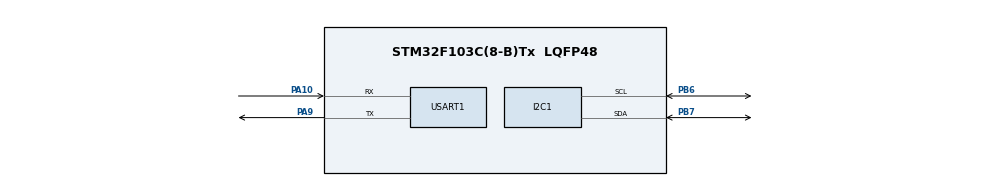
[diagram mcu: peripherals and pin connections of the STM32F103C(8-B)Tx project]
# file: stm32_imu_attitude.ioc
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Mcu.Family=STM32F1
Mcu.Name=STM32F103C(8-B)Tx
Mcu.Package=LQFP48
NVIC.PriorityGroup=NVIC_PRIORITYGROUP_4
PA10.Mode=Asynchronous
PA10.Signal=USART1_RX
PA13.Mode=Serial_Wire
PA13.Signal=SYS_JTMS-SWDIO
PA14.Mode=Serial_Wire
PA14.Signal=SYS_JTCK-SWCLK
PA9.Mode=Asynchronous
PA9.Signal=USART1_TX
PB6.Mode=I2C
PB6.Signal=I2C1_SCL
PB7.Mode=I2C
PB7.Signal=I2C1_SDA
PD0-OSC_IN.Mode=HSE-External-Oscillator
PD0-OSC_IN.Signal=RCC_OSC_IN
PD1-OSC_OUT.Mode=HSE-External-Oscillator
PD1-OSC_OUT.Signal=RCC_OSC_OUT
ProjectManager.HeapSize=0x200
ProjectManager.StackSize=0x400
ProjectManager.TargetToolchain=STM32CubeIDE
RCC.APB1Freq_Value=8000000
RCC.APB2Freq_Value=8000000
USART1.VirtualMode=VM_ASYNC
board=custom

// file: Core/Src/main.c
/* USER CODE BEGIN Header */
/**
  ******************************************************************************
  * @file           : main.c
  * @brief          : Main program body
  ******************************************************************************
  * @attention
  *
  * Copyright (c) 2026 STMicroelectronics.
  * All rights reserved.
  *
  * This software is licensed under terms that can be found in the LICENSE file
  * in the root directory of this software component.
  * If no LICENSE file comes with this software, it is provided AS-IS.
  *
  ******************************************************************************
  */
/* USER CODE END Header */
#include "main.h"

/* USER CODE BEGIN Includes */
#include <stdio.h>
#include "can_node.h"
#include "mpu6050.h"
#include "telemetry.h"
#include "uart_console.h"
/* USER CODE END Includes */

I2C_HandleTypeDef hi2c1;

UART_HandleTypeDef huart1;

/* USER CODE BEGIN PV */
MPU6050_t my_mpu;

Node_Status_t g_sensor_status = NODE_OK;
uint32_t last_sensor_tick = 0;
uint32_t last_telemetry_tick = 0;
uint32_t last_probe_tick = 0;
/* USER CODE END PV */

void SystemClock_Config(void);
static void MX_GPIO_Init(void);
static void MX_USART1_UART_Init(void);
static void MX_I2C1_Init(void);

/* USER CODE BEGIN 0 */
static HAL_StatusTypeDef I2C1_RecoverPeripheral(void)
{
  /*
   * A cable disconnect can leave the STM32F1 I2C peripheral with BUSY/START
   * state latched even after the signal is restored. DeInit/Init applies the
   * peripheral software reset and restores PB6/PB7 before probing WHO_AM_I.
   */
  if (HAL_I2C_DeInit(&hi2c1) != HAL_OK)
  {
    return HAL_ERROR;
  }

  MX_I2C1_Init();
  return HAL_OK;
}

/*
 * [공부 포인트 - printf 리다이렉션 (Redirection)]
 * C언어의 표준 출력 함수인 printf()는 원래 PC의 모니터(콘솔)로 문자를 보냅니다.
 * 임베디드 보드에는 모니터가 없으므로, 이 마법의 함수(__io_putchar)를 오버라이딩하여
 * printf()가 호출될 때마다 그 글자(ch)들을 UART1 통신선(Tx)을 통해 PC로 전송하도록 방향을 틀어줍니다.
 */
int __io_putchar(int ch)
{
  HAL_UART_Transmit(&huart1, (uint8_t *)&ch, 1, 0xFFFF);
  return ch;
}
/* USER CODE END 0 */

int main(void)
{

  /* MCU Configuration--------------------------------------------------------*/

  /* Reset of all peripherals, Initializes the Flash interface and the Systick. */
  HAL_Init();

  /* Configure the system clock */
  SystemClock_Config();

  /* Initialize all configured peripherals */
  MX_GPIO_Init();
  MX_USART1_UART_Init();
  MX_I2C1_Init();
  /* USER CODE BEGIN 2 */
  UART_Console_Init(&huart1);
  Telemetry_Init();

  if (CAN_Node_Init(&huart1)) {
      Telemetry_Publish_String(&huart1, "BOOT,OK,CAN_500K_READY\r\n");
  } else {
      Telemetry_Publish_String(&huart1, "BOOT,ERR,CAN_INIT_FAILED\r\n");
  }

  // --- [DIAGNOSTIC] I2C Scanner ---
  char scan_buf[64];
  uint8_t found_count = 0;
  Telemetry_Publish_String(&huart1, "BOOT,INFO,SCANNING_I2C_BUS...\r\n");
  for(uint16_t i=1; i<128; i++) {
      if(HAL_I2C_IsDeviceReady(&hi2c1, (i<<1), 3, 100) == HAL_OK) {
          uint8_t whoami = 0;
          HAL_I2C_Mem_Read(&hi2c1, (i<<1), 0x75, 1, &whoami, 1, 100);
          snprintf(scan_buf, sizeof(scan_buf), "BOOT,INFO,FOUND_I2C_AT_0x%02X_WHOAMI_0x%02X\r\n", i, whoami);
          Telemetry_Publish_String(&huart1, scan_buf);
          found_count++;
      }
  }
  if(found_count == 0) {
      Telemetry_Publish_String(&huart1, "BOOT,ERR,NO_I2C_DEVICES_FOUND\r\n");
  }
  // --------------------------------

  if (MPU6050_Init(&hi2c1, &my_mpu) != MPU6050_OK) {
      g_sensor_status = NODE_SENSOR_OFFLINE;
      Telemetry_Publish_String(&huart1, "BOOT,ERR,DEVICE_NOT_FOUND\r\n");
  } else {
      g_sensor_status = NODE_OK;
      Telemetry_Publish_String(&huart1, "BOOT,OK,MPU6050_FOUND\r\n");
  }

  last_sensor_tick = HAL_GetTick();
  last_telemetry_tick = HAL_GetTick();
  last_probe_tick = HAL_GetTick();
  /* USER CODE END 2 */

  /* Infinite loop */
  /* USER CODE BEGIN WHILE */
  while (1)
  {
      uint32_t current_tick = HAL_GetTick();

      // 1. Process UART commands
      UART_Console_Process();

      // 2. Process CAN frames deferred from the RX FIFO ISR
      CAN_Node_Process();

      // 3. Sensor Sampling (20Hz = 50ms)
      if (g_sensor_status == NODE_OK) {
          if ((current_tick - last_sensor_tick) >= 50) {
              last_sensor_tick = current_tick;

              if (MPU6050_Read_All(&hi2c1, &my_mpu) != MPU6050_OK) {
                  g_sensor_status = NODE_SENSOR_OFFLINE;
                  Telemetry_Publish_String(&huart1, "ERR,SENSOR_OFFLINE\r\n");
                  last_probe_tick = current_tick;
              }
          }
      }
      // 4. Sensor Reconnect Probe (1Hz = 1000ms)
      else if (g_sensor_status == NODE_SENSOR_OFFLINE) {
          if ((current_tick - last_probe_tick) >= 1000) {
              last_probe_tick = current_tick;

              if ((I2C1_RecoverPeripheral() == HAL_OK) &&
                  (MPU6050_Init(&hi2c1, &my_mpu) == MPU6050_OK)) {
                  g_sensor_status = NODE_OK;
                  Telemetry_Publish_String(&huart1, "OK,SENSOR_RECOVERED\r\n");
              }
          }
      }

      // 5. UART/CAN Publishing (10Hz = 100ms)
      if ((current_tick - last_telemetry_tick) >= 100) {
          last_telemetry_tick = current_tick;

          IMU_Sample_t sample;
          sample.ax = my_mpu.Accel_X_Raw;
          sample.ay = my_mpu.Accel_Y_Raw;
          sample.az = my_mpu.Accel_Z_Raw;
          sample.gx = my_mpu.Gyro_X_Raw;
          sample.gy = my_mpu.Gyro_Y_Raw;
          sample.gz = my_mpu.Gyro_Z_Raw;
          sample.roll_cdeg = (int16_t)(my_mpu.Filtered_Roll * 100.0);
          sample.pitch_cdeg = (int16_t)(my_mpu.Filtered_Pitch * 100.0);
          sample.t_ms = current_tick;
          sample.status = g_sensor_status;

          if (g_sensor_status == NODE_OK) {
              Telemetry_Publish(&huart1, &sample);
          }

          (void)CAN_Node_PublishIMU(&sample);

          // Heartbeat LED
          HAL_GPIO_TogglePin(GPIOC, GPIO_PIN_13);
      }

    /* USER CODE END WHILE */

  }
}

void SystemClock_Config(void)
{
  RCC_OscInitTypeDef RCC_OscInitStruct = {0};
  RCC_ClkInitTypeDef RCC_ClkInitStruct = {0};

  /** Initializes the RCC Oscillators according to the specified parameters
  * in the RCC_OscInitTypeDef structure.
  */
  RCC_OscInitStruct.OscillatorType = RCC_OSCILLATORTYPE_HSI;
  RCC_OscInitStruct.HSIState = RCC_HSI_ON;
  RCC_OscInitStruct.HSICalibrationValue = RCC_HSICALIBRATION_DEFAULT;
  RCC_OscInitStruct.PLL.PLLState = RCC_PLL_NONE;
  if (HAL_RCC_OscConfig(&RCC_OscInitStruct) != HAL_OK)
  {
    Error_Handler();
  }

  /** Initializes the CPU, AHB and APB buses clocks
  */
  RCC_ClkInitStruct.ClockType = RCC_CLOCKTYPE_HCLK|RCC_CLOCKTYPE_SYSCLK
                              |RCC_CLOCKTYPE_PCLK1|RCC_CLOCKTYPE_PCLK2;
  RCC_ClkInitStruct.SYSCLKSource = RCC_SYSCLKSOURCE_HSI;
  RCC_ClkInitStruct.AHBCLKDivider = RCC_SYSCLK_DIV1;
  RCC_ClkInitStruct.APB1CLKDivider = RCC_HCLK_DIV1;
  RCC_ClkInitStruct.APB2CLKDivider = RCC_HCLK_DIV1;

  if (HAL_RCC_ClockConfig(&RCC_ClkInitStruct, FLASH_LATENCY_0) != HAL_OK)
  {
    Error_Handler();
  }
}

static void MX_I2C1_Init(void)
{

  hi2c1.Instance = I2C1;
  hi2c1.Init.ClockSpeed = 100000;
  hi2c1.Init.DutyCycle = I2C_DUTYCYCLE_2;
  hi2c1.Init.OwnAddress1 = 0;
  hi2c1.Init.AddressingMode = I2C_ADDRESSINGMODE_7BIT;
  hi2c1.Init.DualAddressMode = I2C_DUALADDRESS_DISABLE;
  hi2c1.Init.OwnAddress2 = 0;
  hi2c1.Init.GeneralCallMode = I2C_GENERALCALL_DISABLE;
  hi2c1.Init.NoStretchMode = I2C_NOSTRETCH_DISABLE;
  if (HAL_I2C_Init(&hi2c1) != HAL_OK)
  {
    Error_Handler();
  }

}

static void MX_USART1_UART_Init(void)
{

  huart1.Instance = USART1;
  huart1.Init.BaudRate = 115200;
  huart1.Init.WordLength = UART_WORDLENGTH_8B;
  huart1.Init.StopBits = UART_STOPBITS_1;
  huart1.Init.Parity = UART_PARITY_NONE;
  huart1.Init.Mode = UART_MODE_TX_RX;
  huart1.Init.HwFlowCtl = UART_HWCONTROL_NONE;
  huart1.Init.OverSampling = UART_OVERSAMPLING_16;
  if (HAL_UART_Init(&huart1) != HAL_OK)
  {
    Error_Handler();
  }

}

static void MX_GPIO_Init(void)
{

  /* GPIO Ports Clock Enable */
  __HAL_RCC_GPIOD_CLK_ENABLE();
  __HAL_RCC_GPIOA_CLK_ENABLE();
  __HAL_RCC_GPIOB_CLK_ENABLE();

  /* USER CODE BEGIN MX_GPIO_Init_2 */
  // CubeMX에서 누락되었을지 모를 PC13 핀 초기화 코드를 직접 추가합니다.
  __HAL_RCC_GPIOC_CLK_ENABLE();
  GPIO_InitTypeDef GPIO_InitStruct = {0};
  GPIO_InitStruct.Pin = GPIO_PIN_13;
  GPIO_InitStruct.Mode = GPIO_MODE_OUTPUT_PP;
  GPIO_InitStruct.Pull = GPIO_NOPULL;
  GPIO_InitStruct.Speed = GPIO_SPEED_FREQ_LOW;
  HAL_GPIO_Init(GPIOC, &GPIO_InitStruct);
  /* USER CODE END MX_GPIO_Init_2 */
}

void Error_Handler(void)
{
  __disable_irq();
  while (1)
  {
  }
}
